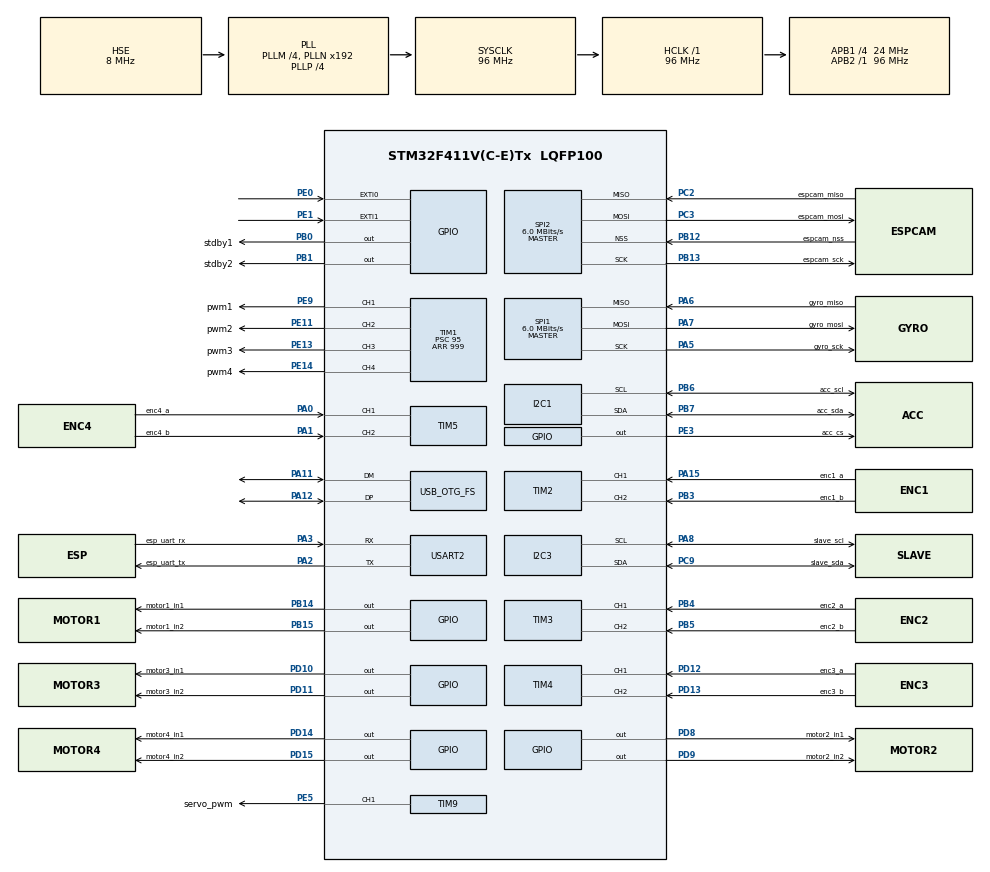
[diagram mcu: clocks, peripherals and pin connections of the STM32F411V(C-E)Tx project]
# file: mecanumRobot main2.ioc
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I2C3.AddressingMode=I2C_ADDRESSINGMODE_7BIT
I2C3.OwnAddress=0x20
Mcu.Family=STM32F4
Mcu.Name=STM32F411V(C-E)Tx
Mcu.Package=LQFP100
NVIC.EXTI0_IRQn=true\:0\:0\:false\:false\:true\:true\:true\:true
NVIC.I2C1_ER_IRQn=true\:0\:0\:false\:false\:true\:true\:true\:true
NVIC.I2C1_EV_IRQn=true\:0\:0\:false\:false\:true\:true\:true\:true
NVIC.I2C3_ER_IRQn=true\:0\:0\:false\:false\:true\:true\:true\:true
NVIC.I2C3_EV_IRQn=true\:0\:0\:false\:false\:true\:true\:true\:true
NVIC.OTG_FS_IRQn=true\:0\:0\:false\:false\:true\:false\:true\:true
NVIC.PriorityGroup=NVIC_PRIORITYGROUP_0
NVIC.SPI1_IRQn=true\:0\:0\:false\:false\:true\:true\:true\:true
NVIC.TIM1_BRK_TIM9_IRQn=true\:0\:0\:false\:false\:true\:true\:true\:true
NVIC.TIM1_UP_TIM10_IRQn=true\:0\:0\:false\:false\:true\:true\:true\:true
NVIC.TIM2_IRQn=true\:0\:0\:false\:false\:true\:true\:true\:true
NVIC.TIM3_IRQn=true\:0\:0\:false\:false\:true\:true\:true\:true
NVIC.TIM4_IRQn=true\:0\:0\:false\:false\:true\:true\:true\:true
NVIC.TIM5_IRQn=true\:0\:0\:false\:false\:true\:true\:true\:true
NVIC.USART2_IRQn=true\:0\:0\:false\:false\:true\:true\:true\:true
PA0-WKUP.GPIO_Label=enc4_a
PA0-WKUP.Signal=S_TIM5_CH1
PA1.GPIO_Label=enc4_b
PA1.Signal=S_TIM5_CH2
PA11.Mode=Device_Only
PA11.Signal=USB_OTG_FS_DM
PA12.Mode=Device_Only
PA12.Signal=USB_OTG_FS_DP
PA13.Mode=Serial_Wire
PA13.Signal=SYS_JTMS-SWDIO
PA14.Mode=Serial_Wire
PA14.Signal=SYS_JTCK-SWCLK
PA15.GPIO_Label=enc1_a
PA15.Signal=S_TIM2_CH1_ETR
PA2.GPIO_Label=esp_uart_tx
PA2.Mode=Asynchronous
PA2.Signal=USART2_TX
PA3.GPIO_Label=esp_uart_rx
PA3.Mode=Asynchronous
PA3.Signal=USART2_RX
PA5.GPIO_Label=gyro_sck
PA5.Mode=Full_Duplex_Master
PA5.Signal=SPI1_SCK
PA6.GPIO_Label=gyro_miso
PA6.Mode=Full_Duplex_Master
PA6.Signal=SPI1_MISO
PA7.GPIO_Label=gyro_mosi
PA7.Mode=Full_Duplex_Master
PA7.Signal=SPI1_MOSI
PA8.GPIO_Label=slave_scl
PA8.Mode=I2C
PA8.Signal=I2C3_SCL
PB0.GPIO_Label=stdby1
PB0.Signal=GPIO_Output
PB1.GPIO_Label=stdby2
PB1.Signal=GPIO_Output
PB12.GPIO_Label=espcam_nss
PB12.Mode=NSS_Signal_Hard_Input
PB12.Signal=SPI2_NSS
PB13.GPIO_Label=espcam_sck
PB13.Mode=Full_Duplex_Master
PB13.Signal=SPI2_SCK
PB14.GPIO_Label=motor1_in1
PB14.Signal=GPIO_Output
PB15.GPIO_Label=motor1_in2
PB15.Signal=GPIO_Output
PB3.GPIO_Label=enc1_b
PB3.Signal=S_TIM2_CH2
PB4.GPIO_Label=enc2_a
PB4.Signal=S_TIM3_CH1
PB5.GPIO_Label=enc2_b
PB5.Signal=S_TIM3_CH2
PB6.GPIO_Label=acc_scl
PB6.GPIO_Pu=GPIO_NOPULL
PB6.Mode=I2C
PB6.Signal=I2C1_SCL
PB7.GPIO_Label=acc_sda
PB7.GPIO_Pu=GPIO_NOPULL
PB7.GPIO_Speed=GPIO_SPEED_FREQ_VERY_HIGH
PB7.Mode=I2C
PB7.Signal=I2C1_SDA
PC2.GPIO_Label=espcam_miso
PC2.Mode=Full_Duplex_Master
PC2.Signal=SPI2_MISO
PC3.GPIO_Label=espcam_mosi
PC3.Mode=Full_Duplex_Master
PC3.Signal=SPI2_MOSI
PC9.GPIO_Label=slave_sda
PC9.Mode=I2C
PC9.Signal=I2C3_SDA
PD10.GPIO_Label=motor3_in1
PD10.Signal=GPIO_Output
PD11.GPIO_Label=motor3_in2
PD11.Signal=GPIO_Output
PD12.GPIO_Label=enc3_a
PD12.Signal=S_TIM4_CH1
PD13.GPIO_Label=enc3_b
PD13.Signal=S_TIM4_CH2
PD14.GPIO_Label=motor4_in1
PD14.Signal=GPIO_Output
PD15.GPIO_Label=motor4_in2
PD15.Signal=GPIO_Output
PD8.GPIO_Label=motor2_in1
PD8.Signal=GPIO_Output
PD9.GPIO_Label=motor2_in2
PD9.Signal=GPIO_Output
PE0.Signal=GPXTI0
PE1.Signal=GPXTI1
PE11.GPIO_Label=pwm2
PE11.Signal=S_TIM1_CH2
PE13.GPIO_Label=pwm3
PE13.Signal=S_TIM1_CH3
PE14.GPIO_Label=pwm4
PE14.Signal=S_TIM1_CH4
PE3.GPIO_Label=acc_cs
PE3.Signal=GPIO_Output
PE5.GPIO_Label=servo_pwm
PE5.Signal=S_TIM9_CH1
PE9.GPIO_Label=pwm1
PE9.Signal=S_TIM1_CH1
PH0\ -\ OSC_IN.Mode=HSE-External-Oscillator
PH0\ -\ OSC_IN.Signal=RCC_OSC_IN
PH1\ -\ OSC_OUT.Mode=HSE-External-Oscillator
PH1\ -\ OSC_OUT.Signal=RCC_OSC_OUT
ProjectManager.HeapSize=0x200
ProjectManager.StackSize=0x400
ProjectManager.TargetToolchain=STM32CubeIDE
RCC.48MHZClocksFreq_Value=48000000
RCC.AHBFreq_Value=96000000
RCC.APB1CLKDivider=RCC_HCLK_DIV4
RCC.APB1Freq_Value=24000000
RCC.APB1TimFreq_Value=48000000
RCC.APB2Freq_Value=96000000
RCC.APB2TimFreq_Value=96000000
RCC.CortexFreq_Value=96000000
RCC.HCLKFreq_Value=96000000
RCC.HSE_VALUE=8000000
RCC.HSI_VALUE=16000000
RCC.LSE_VALUE=32768
RCC.PLLI2SM=5
RCC.PLLI2SN=200
RCC.PLLM=4
RCC.PLLP=RCC_PLLP_DIV4
RCC.PLLQ=8
RCC.SYSCLKFreq_VALUE=96000000
RCC.SYSCLKSource=RCC_SYSCLKSOURCE_PLLCLK
RCC.VCOOutputFreq_Value=384000000
SH.S_TIM1_CH1.0=TIM1_CH1,PWM Generation1 CH1
SH.S_TIM1_CH2.0=TIM1_CH2,PWM Generation2 CH2
SH.S_TIM1_CH3.0=TIM1_CH3,PWM Generation3 CH3
SH.S_TIM1_CH4.0=TIM1_CH4,PWM Generation4 CH4
SH.S_TIM2_CH1_ETR.0=TIM2_CH1,Encoder_Interface
SH.S_TIM2_CH2.0=TIM2_CH2,Encoder_Interface
SH.S_TIM3_CH1.0=TIM3_CH1,Encoder_Interface
SH.S_TIM3_CH2.0=TIM3_CH2,Encoder_Interface
SH.S_TIM4_CH1.0=TIM4_CH1,Encoder_Interface
SH.S_TIM4_CH2.0=TIM4_CH2,Encoder_Interface
SH.S_TIM5_CH1.0=TIM5_CH1,Encoder_Interface
SH.S_TIM5_CH2.0=TIM5_CH2,Encoder_Interface
SH.S_TIM9_CH1.0=TIM9_CH1,PWM Generation1 CH1
SPI1.BaudRatePrescaler=SPI_BAUDRATEPRESCALER_16
SPI1.CLKPhase=SPI_PHASE_2EDGE
SPI1.CLKPolarity=SPI_POLARITY_HIGH
SPI1.CalculateBaudRate=6.0 MBits/s
SPI1.Direction=SPI_DIRECTION_2LINES
SPI1.Mode=SPI_MODE_MASTER
SPI1.VirtualType=VM_MASTER
SPI2.BaudRatePrescaler=SPI_BAUDRATEPRESCALER_4
SPI2.CalculateBaudRate=6.0 MBits/s
SPI2.Direction=SPI_DIRECTION_2LINES
SPI2.Mode=SPI_MODE_MASTER
SPI2.VirtualNSS=VM_NSSHARD
SPI2.VirtualType=VM_MASTER
TIM1.Channel-PWM\ Generation1\ CH1=TIM_CHANNEL_1
TIM1.Channel-PWM\ Generation2\ CH2=TIM_CHANNEL_2
TIM1.Channel-PWM\ Generation3\ CH3=TIM_CHANNEL_3
TIM1.Channel-PWM\ Generation4\ CH4=TIM_CHANNEL_4
TIM1.Period=999
TIM1.Prescaler=95
TIM10.Period=4999
TIM10.Prescaler=95
TIM2.CounterMode=TIM_COUNTERMODE_UP
TIM2.EncoderMode=TIM_ENCODERMODE_TI12
TIM3.CounterMode=TIM_COUNTERMODE_UP
TIM3.EncoderMode=TIM_ENCODERMODE_TI12
TIM4.CounterMode=TIM_COUNTERMODE_UP
TIM4.EncoderMode=TIM_ENCODERMODE_TI12
TIM5.CounterMode=TIM_COUNTERMODE_UP
TIM5.EncoderMode=TIM_ENCODERMODE_TI12
TIM9.Channel-PWM\ Generation1\ CH1=TIM_CHANNEL_1
TIM9.Period=999
TIM9.Prescaler=95
USART2.VirtualMode=VM_ASYNC
USB_DEVICE.CLASS_NAME_FS=CDC
USB_DEVICE.VirtualMode=Cdc
USB_DEVICE.VirtualModeFS=Cdc_FS
USB_OTG_FS.VirtualMode=Device_Only
VP_TIM10_VS_ClockSourceINT.Mode=Enable_Timer
VP_TIM1_VS_ClockSourceINT.Mode=Internal
VP_TIM9_VS_ClockSourceINT.Mode=Internal
VP_USB_DEVICE_VS_USB_DEVICE_CDC_FS.Mode=CDC_FS
board=STM32F411E-DISCO

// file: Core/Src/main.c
/* USER CODE BEGIN Header */
/**
 ******************************************************************************
 * @file           : main.c
 * @brief          : Main program body
 ******************************************************************************
 * @attention
 *
 * Copyright (c) 2025 STMicroelectronics.
 * All rights reserved.
 *
 * This software is licensed under terms that can be found in the LICENSE file
 * in the root directory of this software component.
 * If no LICENSE file comes with this software, it is provided AS-IS.
 *
 ******************************************************************************
 */
/* USER CODE END Header */
#include "main.h"
#include "usb_device.h"

/* USER CODE BEGIN Includes */
#include "stm32f4xx.h"
#include "stm32f4xx_hal.h"
#include "stm32f411e_discovery.h"
#include "stm32f411e_discovery_accelerometer.h"
#include "stm32f411e_discovery_gyroscope.h"
#include "usbd_cdc_if.h"
#include <math.h>
#include <stdbool.h>
#include <stdio.h>
#include <string.h>
#include <stdlib.h>
#include <VL53L0X.h>
#include <DefinesandVariables.h>
#include <Prototypes.h>
#include <MEMS.h>
#include <MotorsandEncoders.h>
#include <ServoandVL53l0x.h>
#include <path.h>
/* USER CODE END Includes */

I2C_HandleTypeDef hi2c1;
I2C_HandleTypeDef hi2c3;

SPI_HandleTypeDef hspi1;
SPI_HandleTypeDef hspi2;

TIM_HandleTypeDef htim1;
TIM_HandleTypeDef htim2;
TIM_HandleTypeDef htim3;
TIM_HandleTypeDef htim4;
TIM_HandleTypeDef htim5;
TIM_HandleTypeDef htim9;
TIM_HandleTypeDef htim10;

UART_HandleTypeDef huart2;

void SystemClock_Config(void);
static void MX_GPIO_Init(void);
static void MX_SPI1_Init(void);
static void MX_I2C1_Init(void);
static void MX_TIM1_Init(void);
static void MX_TIM2_Init(void);
static void MX_TIM3_Init(void);
static void MX_TIM4_Init(void);
static void MX_TIM5_Init(void);
static void MX_TIM9_Init(void);
static void MX_USART2_UART_Init(void);
static void MX_I2C3_Init(void);
static void MX_SPI2_Init(void);
static void MX_TIM10_Init(void);

/* USER CODE BEGIN 0 */
/* SIMPLE ROBOT COMMUNICATION */

/* USER CODE BEGIN 0 */
/* SIMPLE ROBOT COMMUNICATION - I2C3 with 4.7kΩ pull-ups */

// Printf redirection to UART
int _write(int file, char *ptr, int len) {
	HAL_UART_Transmit(&huart2, (uint8_t*) ptr, len, HAL_MAX_DELAY);
	return len;
}

void InitRobot(void) {
	uint8_t addr;
	switch (ROBOT_ID) {
	case 1:
		addr = SLAVE_1_ADDR;
		break;
	case 2:
		addr = SLAVE_2_ADDR;
		break;
	case 3:
		addr = SLAVE_3_ADDR;
		break;
	default:
		printf("ERROR: Invalid ROBOT_ID %d\n", ROBOT_ID);
		return;
	}

	if (HAL_I2C_Init(&hi2c3) != HAL_OK) {
		printf("ERROR: I2C3 init failed\n");
		return;
	}

	if (HAL_I2C_EnableListen_IT(&hi2c3) != HAL_OK) {
		printf("ERROR: I2C3 listen failed\n");
		return;
	}

	last_move_time = HAL_GetTick();
	printf("Robot %d ready (I2C3: 0x%02X)\n", ROBOT_ID, addr);
}

void ProcessMovement(void) {
	if (new_movement) {
		new_movement = 0;
		last_move_time = HAL_GetTick();

		if (received_move.command == 1) {
			MoveToPosition(received_move.x, received_move.y,
					received_move.theta, received_move.speed);
			isMoving = (received_move.x != 0 || received_move.y != 0
					|| received_move.theta != 0);
			printf("Move: vx=%.2f vy=%.2f omega=%.2f\n",received_move.x,
					received_move.y, received_move.theta);
		} else {
			MoveToPosition(0, 0, 0, 0);
			isMoving = 0;
			printf("Stop\n");
		}
	}

	// Safety timeout
	if (HAL_GetTick() - last_move_time > 1500) {
		if (isMoving) {
			MoveToPosition(0, 0, 0, 0);
			isMoving = 0;
			printf("Timeout stop\n");
		}
	}
}

// I2C3 callbacks
void HAL_I2C_AddrCallback(I2C_HandleTypeDef *hi2c, uint8_t TransferDirection,
		uint16_t AddrMatchCode) {
	if (hi2c->Instance == I2C3 && TransferDirection == I2C_DIRECTION_TRANSMIT) {
		HAL_I2C_Slave_Seq_Receive_IT(&hi2c3, (uint8_t*) &received_move,
				sizeof(movement_command_t), I2C_FIRST_AND_LAST_FRAME);
	}
}

void HAL_I2C_SlaveRxCpltCallback(I2C_HandleTypeDef *hi2c) {
	if (hi2c->Instance == I2C3) {
		new_movement = 1;
		printf("Command received\n");
		HAL_I2C_EnableListen_IT(&hi2c3);
		ProcessMovement();
	}
}

void HAL_I2C_ErrorCallback(I2C_HandleTypeDef *hi2c) {
	if (hi2c->Instance == I2C3) {
		printf("I2C3 Error: 0x%08X\n", (unsigned int) hi2c->ErrorCode);
		HAL_I2C_DeInit(hi2c);
		HAL_Delay(10);
		HAL_I2C_Init(hi2c);
		HAL_I2C_EnableListen_IT(&hi2c3);
	}
}

void HAL_I2C_ListenCpltCallback(I2C_HandleTypeDef *hi2c) {
	if (hi2c->Instance == I2C3) {
		HAL_I2C_EnableListen_IT(&hi2c3);
	}
}
/* USER CODE END 0 */

int main(void)
{

  /* MCU Configuration--------------------------------------------------------*/

  /* Reset of all peripherals, Initializes the Flash interface and the Systick. */
  HAL_Init();

  /* Configure the system clock */
  SystemClock_Config();

  /* Initialize all configured peripherals */
  MX_GPIO_Init();
  MX_SPI1_Init();
  MX_I2C1_Init();
  MX_USB_DEVICE_Init();
  MX_TIM1_Init();
  MX_TIM2_Init();
  MX_TIM3_Init();
  MX_TIM4_Init();
  MX_TIM5_Init();
  MX_TIM9_Init();
  MX_USART2_UART_Init();
  MX_I2C3_Init();
  MX_SPI2_Init();
  MX_TIM10_Init();
  /* USER CODE BEGIN 2 */
	HAL_Delay(1000); // Give peripherals time to stabilize
	MecanumInit();
	PreciseWheelPositionInit();
	HAL_Delay(1000);

	InitRobot();
	SetGlobalPosition(0.0f, 0.0f, 0.0f);
//	MoveToPosition(0.0f, 0.0f, PI/2.0f, 3.0f);
	// Follow S-path
//	FollowSinePath(1.0f, 0.6f, 0.5f);
//	TestMotorDirections();

//	MoveToPosition(0.5f, 0.5f, 0.0f, 0.5f);
//    // Wait a bit

//    // Run simple S-path
//    TestSPaths();
  /* USER CODE END 2 */

  /* Infinite loop */
	while (1) {

	}
}

void SystemClock_Config(void)
{
  RCC_OscInitTypeDef RCC_OscInitStruct = {0};
  RCC_ClkInitTypeDef RCC_ClkInitStruct = {0};

  /** Configure the main internal regulator output voltage
  */
  __HAL_RCC_PWR_CLK_ENABLE();
  __HAL_PWR_VOLTAGESCALING_CONFIG(PWR_REGULATOR_VOLTAGE_SCALE1);

  /** Initializes the RCC Oscillators according to the specified parameters
  * in the RCC_OscInitTypeDef structure.
  */
  RCC_OscInitStruct.OscillatorType = RCC_OSCILLATORTYPE_HSE;
  RCC_OscInitStruct.HSEState = RCC_HSE_ON;
  RCC_OscInitStruct.PLL.PLLState = RCC_PLL_ON;
  RCC_OscInitStruct.PLL.PLLSource = RCC_PLLSOURCE_HSE;
  RCC_OscInitStruct.PLL.PLLM = 4;
  RCC_OscInitStruct.PLL.PLLN = 192;
  RCC_OscInitStruct.PLL.PLLP = RCC_PLLP_DIV4;
  RCC_OscInitStruct.PLL.PLLQ = 8;
  if (HAL_RCC_OscConfig(&RCC_OscInitStruct) != HAL_OK)
  {
    Error_Handler();
  }

  /** Initializes the CPU, AHB and APB buses clocks
  */
  RCC_ClkInitStruct.ClockType = RCC_CLOCKTYPE_HCLK|RCC_CLOCKTYPE_SYSCLK
                              |RCC_CLOCKTYPE_PCLK1|RCC_CLOCKTYPE_PCLK2;
  RCC_ClkInitStruct.SYSCLKSource = RCC_SYSCLKSOURCE_PLLCLK;
  RCC_ClkInitStruct.AHBCLKDivider = RCC_SYSCLK_DIV1;
  RCC_ClkInitStruct.APB1CLKDivider = RCC_HCLK_DIV4;
  RCC_ClkInitStruct.APB2CLKDivider = RCC_HCLK_DIV1;

  if (HAL_RCC_ClockConfig(&RCC_ClkInitStruct, FLASH_LATENCY_3) != HAL_OK)
  {
    Error_Handler();
  }
}

static void MX_I2C1_Init(void)
{

  hi2c1.Instance = I2C1;
  hi2c1.Init.ClockSpeed = 100000;
  hi2c1.Init.DutyCycle = I2C_DUTYCYCLE_2;
  hi2c1.Init.OwnAddress1 = 0;
  hi2c1.Init.AddressingMode = I2C_ADDRESSINGMODE_7BIT;
  hi2c1.Init.DualAddressMode = I2C_DUALADDRESS_DISABLE;
  hi2c1.Init.OwnAddress2 = 0;
  hi2c1.Init.GeneralCallMode = I2C_GENERALCALL_DISABLE;
  hi2c1.Init.NoStretchMode = I2C_NOSTRETCH_DISABLE;
  if (HAL_I2C_Init(&hi2c1) != HAL_OK)
  {
    Error_Handler();
  }

}

static void MX_I2C3_Init(void)
{

  hi2c3.Instance = I2C3;
  hi2c3.Init.ClockSpeed = 100000;
  hi2c3.Init.DutyCycle = I2C_DUTYCYCLE_2;
  hi2c3.Init.OwnAddress1 = 64;
  hi2c3.Init.AddressingMode = I2C_ADDRESSINGMODE_7BIT;
  hi2c3.Init.DualAddressMode = I2C_DUALADDRESS_DISABLE;
  hi2c3.Init.OwnAddress2 = 0;
  hi2c3.Init.GeneralCallMode = I2C_GENERALCALL_DISABLE;
  hi2c3.Init.NoStretchMode = I2C_NOSTRETCH_DISABLE;
  if (HAL_I2C_Init(&hi2c3) != HAL_OK)
  {
    Error_Handler();
  }

}

static void MX_SPI1_Init(void)
{

  /* SPI1 parameter configuration*/
  hspi1.Instance = SPI1;
  hspi1.Init.Mode = SPI_MODE_MASTER;
  hspi1.Init.Direction = SPI_DIRECTION_2LINES;
  hspi1.Init.DataSize = SPI_DATASIZE_8BIT;
  hspi1.Init.CLKPolarity = SPI_POLARITY_HIGH;
  hspi1.Init.CLKPhase = SPI_PHASE_2EDGE;
  hspi1.Init.NSS = SPI_NSS_SOFT;
  hspi1.Init.BaudRatePrescaler = SPI_BAUDRATEPRESCALER_16;
  hspi1.Init.FirstBit = SPI_FIRSTBIT_MSB;
  hspi1.Init.TIMode = SPI_TIMODE_DISABLE;
  hspi1.Init.CRCCalculation = SPI_CRCCALCULATION_DISABLE;
  hspi1.Init.CRCPolynomial = 10;
  if (HAL_SPI_Init(&hspi1) != HAL_OK)
  {
    Error_Handler();
  }

}

static void MX_SPI2_Init(void)
{

  /* SPI2 parameter configuration*/
  hspi2.Instance = SPI2;
  hspi2.Init.Mode = SPI_MODE_MASTER;
  hspi2.Init.Direction = SPI_DIRECTION_2LINES;
  hspi2.Init.DataSize = SPI_DATASIZE_8BIT;
  hspi2.Init.CLKPolarity = SPI_POLARITY_LOW;
  hspi2.Init.CLKPhase = SPI_PHASE_1EDGE;
  hspi2.Init.NSS = SPI_NSS_HARD_INPUT;
  hspi2.Init.BaudRatePrescaler = SPI_BAUDRATEPRESCALER_4;
  hspi2.Init.FirstBit = SPI_FIRSTBIT_MSB;
  hspi2.Init.TIMode = SPI_TIMODE_DISABLE;
  hspi2.Init.CRCCalculation = SPI_CRCCALCULATION_DISABLE;
  hspi2.Init.CRCPolynomial = 10;
  if (HAL_SPI_Init(&hspi2) != HAL_OK)
  {
    Error_Handler();
  }

}

static void MX_TIM1_Init(void)
{

  TIM_ClockConfigTypeDef sClockSourceConfig = {0};
  TIM_MasterConfigTypeDef sMasterConfig = {0};
  TIM_OC_InitTypeDef sConfigOC = {0};
  TIM_BreakDeadTimeConfigTypeDef sBreakDeadTimeConfig = {0};

  htim1.Instance = TIM1;
  htim1.Init.Prescaler = 95;
  htim1.Init.CounterMode = TIM_COUNTERMODE_UP;
  htim1.Init.Period = 999;
  htim1.Init.ClockDivision = TIM_CLOCKDIVISION_DIV1;
  htim1.Init.RepetitionCounter = 0;
  htim1.Init.AutoReloadPreload = TIM_AUTORELOAD_PRELOAD_DISABLE;
  if (HAL_TIM_Base_Init(&htim1) != HAL_OK)
  {
    Error_Handler();
  }
  sClockSourceConfig.ClockSource = TIM_CLOCKSOURCE_INTERNAL;
  if (HAL_TIM_ConfigClockSource(&htim1, &sClockSourceConfig) != HAL_OK)
  {
    Error_Handler();
  }
  if (HAL_TIM_PWM_Init(&htim1) != HAL_OK)
  {
    Error_Handler();
  }
  sMasterConfig.MasterOutputTrigger = TIM_TRGO_RESET;
  sMasterConfig.MasterSlaveMode = TIM_MASTERSLAVEMODE_DISABLE;
  if (HAL_TIMEx_MasterConfigSynchronization(&htim1, &sMasterConfig) != HAL_OK)
  {
    Error_Handler();
  }
  sConfigOC.OCMode = TIM_OCMODE_PWM1;
  sConfigOC.Pulse = 0;
  sConfigOC.OCPolarity = TIM_OCPOLARITY_HIGH;
  sConfigOC.OCNPolarity = TIM_OCNPOLARITY_HIGH;
  sConfigOC.OCFastMode = TIM_OCFAST_DISABLE;
  sConfigOC.OCIdleState = TIM_OCIDLESTATE_RESET;
  sConfigOC.OCNIdleState = TIM_OCNIDLESTATE_RESET;
  if (HAL_TIM_PWM_ConfigChannel(&htim1, &sConfigOC, TIM_CHANNEL_1) != HAL_OK)
  {
    Error_Handler();
  }
  if (HAL_TIM_PWM_ConfigChannel(&htim1, &sConfigOC, TIM_CHANNEL_2) != HAL_OK)
  {
    Error_Handler();
  }
  if (HAL_TIM_PWM_ConfigChannel(&htim1, &sConfigOC, TIM_CHANNEL_3) != HAL_OK)
  {
    Error_Handler();
  }
  if (HAL_TIM_PWM_ConfigChannel(&htim1, &sConfigOC, TIM_CHANNEL_4) != HAL_OK)
  {
    Error_Handler();
  }
  sBreakDeadTimeConfig.OffStateRunMode = TIM_OSSR_DISABLE;
  sBreakDeadTimeConfig.OffStateIDLEMode = TIM_OSSI_DISABLE;
  sBreakDeadTimeConfig.LockLevel = TIM_LOCKLEVEL_OFF;
  sBreakDeadTimeConfig.DeadTime = 0;
  sBreakDeadTimeConfig.BreakState = TIM_BREAK_DISABLE;
  sBreakDeadTimeConfig.BreakPolarity = TIM_BREAKPOLARITY_HIGH;
  sBreakDeadTimeConfig.AutomaticOutput = TIM_AUTOMATICOUTPUT_DISABLE;
  if (HAL_TIMEx_ConfigBreakDeadTime(&htim1, &sBreakDeadTimeConfig) != HAL_OK)
  {
    Error_Handler();
  }
  HAL_TIM_MspPostInit(&htim1);

}

static void MX_TIM2_Init(void)
{

  TIM_Encoder_InitTypeDef sConfig = {0};
  TIM_MasterConfigTypeDef sMasterConfig = {0};

  htim2.Instance = TIM2;
  htim2.Init.Prescaler = 0;
  htim2.Init.CounterMode = TIM_COUNTERMODE_UP;
  htim2.Init.Period = 4294967295;
  htim2.Init.ClockDivision = TIM_CLOCKDIVISION_DIV1;
  htim2.Init.AutoReloadPreload = TIM_AUTORELOAD_PRELOAD_DISABLE;
  sConfig.EncoderMode = TIM_ENCODERMODE_TI12;
  sConfig.IC1Polarity = TIM_ICPOLARITY_RISING;
  sConfig.IC1Selection = TIM_ICSELECTION_DIRECTTI;
  sConfig.IC1Prescaler = TIM_ICPSC_DIV1;
  sConfig.IC1Filter = 0;
  sConfig.IC2Polarity = TIM_ICPOLARITY_RISING;
  sConfig.IC2Selection = TIM_ICSELECTION_DIRECTTI;
  sConfig.IC2Prescaler = TIM_ICPSC_DIV1;
  sConfig.IC2Filter = 0;
  if (HAL_TIM_Encoder_Init(&htim2, &sConfig) != HAL_OK)
  {
    Error_Handler();
  }
  sMasterConfig.MasterOutputTrigger = TIM_TRGO_RESET;
  sMasterConfig.MasterSlaveMode = TIM_MASTERSLAVEMODE_DISABLE;
  if (HAL_TIMEx_MasterConfigSynchronization(&htim2, &sMasterConfig) != HAL_OK)
  {
    Error_Handler();
  }

}

static void MX_TIM3_Init(void)
{

  TIM_Encoder_InitTypeDef sConfig = {0};
  TIM_MasterConfigTypeDef sMasterConfig = {0};

  htim3.Instance = TIM3;
  htim3.Init.Prescaler = 0;
  htim3.Init.CounterMode = TIM_COUNTERMODE_UP;
  htim3.Init.Period = 65535;
  htim3.Init.ClockDivision = TIM_CLOCKDIVISION_DIV1;
  htim3.Init.AutoReloadPreload = TIM_AUTORELOAD_PRELOAD_DISABLE;
  sConfig.EncoderMode = TIM_ENCODERMODE_TI12;
  sConfig.IC1Polarity = TIM_ICPOLARITY_RISING;
  sConfig.IC1Selection = TIM_ICSELECTION_DIRECTTI;
  sConfig.IC1Prescaler = TIM_ICPSC_DIV1;
  sConfig.IC1Filter = 0;
  sConfig.IC2Polarity = TIM_ICPOLARITY_RISING;
  sConfig.IC2Selection = TIM_ICSELECTION_DIRECTTI;
  sConfig.IC2Prescaler = TIM_ICPSC_DIV1;
  sConfig.IC2Filter = 0;
  if (HAL_TIM_Encoder_Init(&htim3, &sConfig) != HAL_OK)
  {
    Error_Handler();
  }
  sMasterConfig.MasterOutputTrigger = TIM_TRGO_RESET;
  sMasterConfig.MasterSlaveMode = TIM_MASTERSLAVEMODE_DISABLE;
  if (HAL_TIMEx_MasterConfigSynchronization(&htim3, &sMasterConfig) != HAL_OK)
  {
    Error_Handler();
  }

}

static void MX_TIM4_Init(void)
{

  TIM_Encoder_InitTypeDef sConfig = {0};
  TIM_MasterConfigTypeDef sMasterConfig = {0};

  htim4.Instance = TIM4;
  htim4.Init.Prescaler = 0;
  htim4.Init.CounterMode = TIM_COUNTERMODE_UP;
  htim4.Init.Period = 65535;
  htim4.Init.ClockDivision = TIM_CLOCKDIVISION_DIV1;
  htim4.Init.AutoReloadPreload = TIM_AUTORELOAD_PRELOAD_DISABLE;
  sConfig.EncoderMode = TIM_ENCODERMODE_TI12;
  sConfig.IC1Polarity = TIM_ICPOLARITY_RISING;
  sConfig.IC1Selection = TIM_ICSELECTION_DIRECTTI;
  sConfig.IC1Prescaler = TIM_ICPSC_DIV1;
  sConfig.IC1Filter = 0;
  sConfig.IC2Polarity = TIM_ICPOLARITY_RISING;
  sConfig.IC2Selection = TIM_ICSELECTION_DIRECTTI;
  sConfig.IC2Prescaler = TIM_ICPSC_DIV1;
  sConfig.IC2Filter = 0;
  if (HAL_TIM_Encoder_Init(&htim4, &sConfig) != HAL_OK)
  {
    Error_Handler();
  }
  sMasterConfig.MasterOutputTrigger = TIM_TRGO_RESET;
  sMasterConfig.MasterSlaveMode = TIM_MASTERSLAVEMODE_DISABLE;
  if (HAL_TIMEx_MasterConfigSynchronization(&htim4, &sMasterConfig) != HAL_OK)
  {
    Error_Handler();
  }

}

static void MX_TIM5_Init(void)
{

  TIM_Encoder_InitTypeDef sConfig = {0};
  TIM_MasterConfigTypeDef sMasterConfig = {0};

  htim5.Instance = TIM5;
  htim5.Init.Prescaler = 0;
  htim5.Init.CounterMode = TIM_COUNTERMODE_UP;
  htim5.Init.Period = 4294967295;
  htim5.Init.ClockDivision = TIM_CLOCKDIVISION_DIV1;
  htim5.Init.AutoReloadPreload = TIM_AUTORELOAD_PRELOAD_DISABLE;
  sConfig.EncoderMode = TIM_ENCODERMODE_TI12;
  sConfig.IC1Polarity = TIM_ICPOLARITY_RISING;
  sConfig.IC1Selection = TIM_ICSELECTION_DIRECTTI;
  sConfig.IC1Prescaler = TIM_ICPSC_DIV1;
  sConfig.IC1Filter = 0;
  sConfig.IC2Polarity = TIM_ICPOLARITY_RISING;
  sConfig.IC2Selection = TIM_ICSELECTION_DIRECTTI;
  sConfig.IC2Prescaler = TIM_ICPSC_DIV1;
  sConfig.IC2Filter = 0;
  if (HAL_TIM_Encoder_Init(&htim5, &sConfig) != HAL_OK)
  {
    Error_Handler();
  }
  sMasterConfig.MasterOutputTrigger = TIM_TRGO_RESET;
  sMasterConfig.MasterSlaveMode = TIM_MASTERSLAVEMODE_DISABLE;
  if (HAL_TIMEx_MasterConfigSynchronization(&htim5, &sMasterConfig) != HAL_OK)
  {
    Error_Handler();
  }

}

static void MX_TIM9_Init(void)
{

  TIM_ClockConfigTypeDef sClockSourceConfig = {0};
  TIM_OC_InitTypeDef sConfigOC = {0};

  htim9.Instance = TIM9;
  htim9.Init.Prescaler = 95;
  htim9.Init.CounterMode = TIM_COUNTERMODE_UP;
  htim9.Init.Period = 999;
  htim9.Init.ClockDivision = TIM_CLOCKDIVISION_DIV1;
  htim9.Init.AutoReloadPreload = TIM_AUTORELOAD_PRELOAD_DISABLE;
  if (HAL_TIM_Base_Init(&htim9) != HAL_OK)
  {
    Error_Handler();
  }
  sClockSourceConfig.ClockSource = TIM_CLOCKSOURCE_INTERNAL;
  if (HAL_TIM_ConfigClockSource(&htim9, &sClockSourceConfig) != HAL_OK)
  {
    Error_Handler();
  }
  if (HAL_TIM_PWM_Init(&htim9) != HAL_OK)
  {
    Error_Handler();
  }
  sConfigOC.OCMode = TIM_OCMODE_PWM1;
  sConfigOC.Pulse = 0;
  sConfigOC.OCPolarity = TIM_OCPOLARITY_HIGH;
  sConfigOC.OCFastMode = TIM_OCFAST_DISABLE;
  if (HAL_TIM_PWM_ConfigChannel(&htim9, &sConfigOC, TIM_CHANNEL_1) != HAL_OK)
  {
    Error_Handler();
  }
  HAL_TIM_MspPostInit(&htim9);

}

static void MX_TIM10_Init(void)
{

  htim10.Instance = TIM10;
  htim10.Init.Prescaler = 95;
  htim10.Init.CounterMode = TIM_COUNTERMODE_UP;
  htim10.Init.Period = 4999;
  htim10.Init.ClockDivision = TIM_CLOCKDIVISION_DIV1;
  htim10.Init.AutoReloadPreload = TIM_AUTORELOAD_PRELOAD_DISABLE;
  if (HAL_TIM_Base_Init(&htim10) != HAL_OK)
  {
    Error_Handler();
  }

}

static void MX_USART2_UART_Init(void)
{

  huart2.Instance = USART2;
  huart2.Init.BaudRate = 115200;
  huart2.Init.WordLength = UART_WORDLENGTH_8B;
  huart2.Init.StopBits = UART_STOPBITS_1;
  huart2.Init.Parity = UART_PARITY_NONE;
  huart2.Init.Mode = UART_MODE_TX_RX;
  huart2.Init.HwFlowCtl = UART_HWCONTROL_NONE;
  huart2.Init.OverSampling = UART_OVERSAMPLING_16;
  if (HAL_UART_Init(&huart2) != HAL_OK)
  {
    Error_Handler();
  }

}

static void MX_GPIO_Init(void)
{
  GPIO_InitTypeDef GPIO_InitStruct = {0};

  /* GPIO Ports Clock Enable */
  __HAL_RCC_GPIOE_CLK_ENABLE();
  __HAL_RCC_GPIOH_CLK_ENABLE();
  __HAL_RCC_GPIOC_CLK_ENABLE();
  __HAL_RCC_GPIOA_CLK_ENABLE();
  __HAL_RCC_GPIOB_CLK_ENABLE();
  __HAL_RCC_GPIOD_CLK_ENABLE();

  /*Configure GPIO pin Output Level */
  HAL_GPIO_WritePin(acc_cs_GPIO_Port, acc_cs_Pin, GPIO_PIN_RESET);

  /*Configure GPIO pin Output Level */
  HAL_GPIO_WritePin(GPIOB, stdby1_Pin|stdby2_Pin|motor1_in1_Pin|motor1_in2_Pin, GPIO_PIN_RESET);

  /*Configure GPIO pin Output Level */
  HAL_GPIO_WritePin(GPIOD, motor2_in1_Pin|motor2_in2_Pin|motor3_in1_Pin|motor3_in2_Pin
                          |motor4_in1_Pin|motor4_in2_Pin, GPIO_PIN_RESET);

  /*Configure GPIO pin : acc_cs_Pin */
  GPIO_InitStruct.Pin = acc_cs_Pin;
  GPIO_InitStruct.Mode = GPIO_MODE_OUTPUT_PP;
  GPIO_InitStruct.Pull = GPIO_NOPULL;
  GPIO_InitStruct.Speed = GPIO_SPEED_FREQ_LOW;
  HAL_GPIO_Init(acc_cs_GPIO_Port, &GPIO_InitStruct);

  /*Configure GPIO pins : stdby1_Pin stdby2_Pin motor1_in1_Pin motor1_in2_Pin */
  GPIO_InitStruct.Pin = stdby1_Pin|stdby2_Pin|motor1_in1_Pin|motor1_in2_Pin;
  GPIO_InitStruct.Mode = GPIO_MODE_OUTPUT_PP;
  GPIO_InitStruct.Pull = GPIO_NOPULL;
  GPIO_InitStruct.Speed = GPIO_SPEED_FREQ_LOW;
  HAL_GPIO_Init(GPIOB, &GPIO_InitStruct);

  /*Configure GPIO pins : motor2_in1_Pin motor2_in2_Pin motor3_in1_Pin motor3_in2_Pin
                           motor4_in1_Pin motor4_in2_Pin */
  GPIO_InitStruct.Pin = motor2_in1_Pin|motor2_in2_Pin|motor3_in1_Pin|motor3_in2_Pin
                          |motor4_in1_Pin|motor4_in2_Pin;
  GPIO_InitStruct.Mode = GPIO_MODE_OUTPUT_PP;
  GPIO_InitStruct.Pull = GPIO_NOPULL;
  GPIO_InitStruct.Speed = GPIO_SPEED_FREQ_LOW;
  HAL_GPIO_Init(GPIOD, &GPIO_InitStruct);

  /*Configure GPIO pins : PE0 PE1 */
  GPIO_InitStruct.Pin = GPIO_PIN_0|GPIO_PIN_1;
  GPIO_InitStruct.Mode = GPIO_MODE_IT_RISING;
  GPIO_InitStruct.Pull = GPIO_NOPULL;
  HAL_GPIO_Init(GPIOE, &GPIO_InitStruct);

  /* EXTI interrupt init*/
  HAL_NVIC_SetPriority(EXTI0_IRQn, 0, 0);
  HAL_NVIC_EnableIRQ(EXTI0_IRQn);

}

void Error_Handler(void)
{
  __disable_irq();
  while (1)
  {
  }
}
